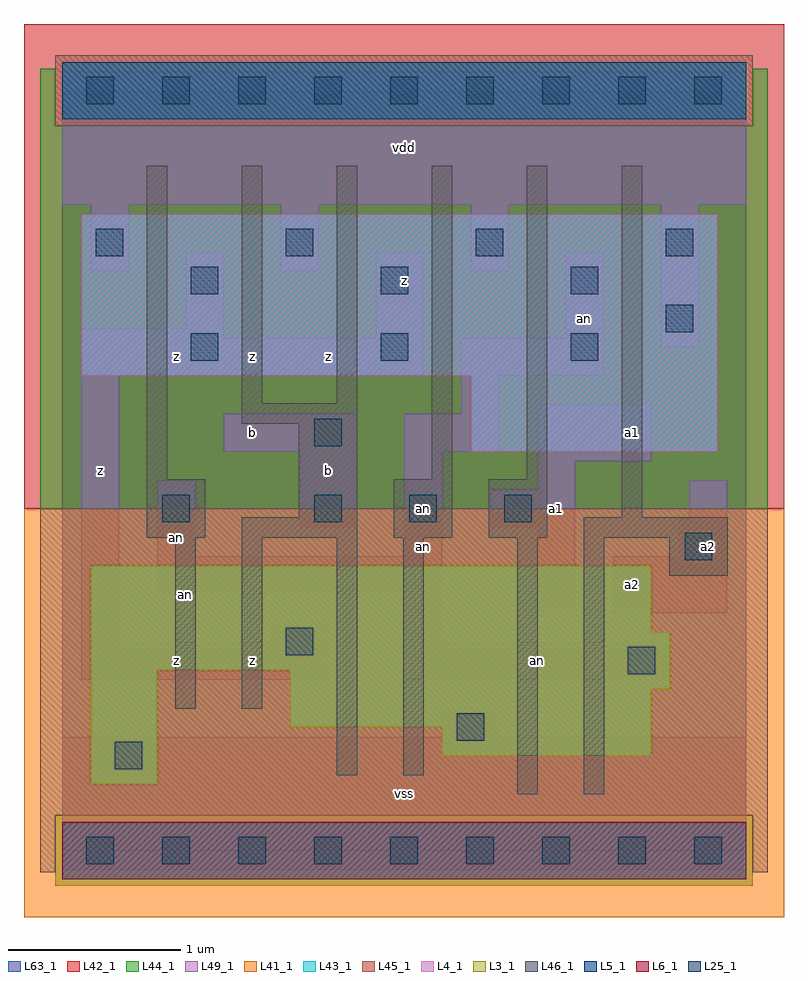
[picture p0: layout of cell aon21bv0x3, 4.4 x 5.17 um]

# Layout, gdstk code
import gdstk
lib = gdstk.Library(unit=1e-6, precision=1e-09)
def R(c, l, rs):  # rectangles x0, y0, x1, y1
    for r in rs: c.add(gdstk.rectangle(r[:2], r[2:], *l))
def A(c, l, x, y, w, h, nx, ny, dx, dy):  # array of equal rectangles
    R(c, l, [(x+i*dx, y+j*dy, x+i*dx+w, y+j*dy+h) for i in range(nx) for j in range(ny)])
L3_1 = (3, 1)
L4_1 = (4, 1)
L5_1 = (5, 1)
L6_1 = (6, 1)
L25_1 = (25, 1)
L41_1 = (41, 1)
L42_1 = (42, 1)
L43_1 = (43, 1)
L44_1 = (44, 1)
L45_1 = (45, 1)
L46_1 = (46, 1)
L49_1 = (49, 1)
L63_1 = (63, 1)

aon21bv0x3 = lib.new_cell('aon21bv0x3')
R(aon21bv0x3, L3_1, [(0.165,0.385,0.55,1.045), (2.2,0.55,3.41,0.715), (1.32,0.715,3.41,0.935), (1.32,0.935,3.52,1.045), (0.165,1.045,3.52,1.265), (0.165,1.265,3.41,1.65)])
R(aon21bv0x3, L4_1, [(2.365,2.31,3.795,2.75), (0.11,2.75,3.795,3.685)])
R(aon21bv0x3, L5_1, [(0,4.235,3.96,4.565)])
R(aon21bv0x3, L6_1, [(0,-0.165,3.96,0.165)])
A(aon21bv0x3, L25_1, 0.14, -0.08, 0.16, 0.16, 9, 2, 0.44, 4.4)
A(aon21bv0x3, L25_1, 1.46, 1.9, 0.16, 0.16, 3, 1, 0.55, 0)
A(aon21bv0x3, L25_1, 0.745, 2.835, 0.16, 0.16, 3, 2, 1.1, 0.385)
A(aon21bv0x3, L25_1, 0.195, 3.44, 0.16, 0.16, 4, 1, 1.1, 0)
R(aon21bv0x3, L25_1, [(0.305,0.47,0.465,0.63), (2.285,0.635,2.445,0.795), (3.275,1.02,3.435,1.18), (1.295,1.13,1.455,1.29), (3.605,1.68,3.765,1.84), (0.58,1.9,0.74,2.06), (1.46,2.34,1.62,2.5), (3.495,3,3.655,3.16)])
R(aon21bv0x3, L41_1, [(-0.22,-0.385,4.18,1.98)])
R(aon21bv0x3, L42_1, [(-0.22,1.98,4.18,4.785)])
R(aon21bv0x3, L43_1, [(0,-0.165,3.96,0.165), (0.165,0.385,0.55,1.045), (2.2,0.55,3.41,0.715), (1.32,0.715,3.41,0.935), (1.32,0.935,3.52,1.045), (0.165,1.045,3.52,1.265), (0.165,1.265,3.41,1.65), (2.365,2.31,3.795,2.75), (0.11,2.75,3.795,3.685), (0,4.235,3.96,4.565)])
R(aon21bv0x3, L44_1, [(-0.04,-0.205,4,0.205), (-0.125,1.98,4.085,4.195), (-0.125,4.195,-0.04,4.525), (4,4.195,4.085,4.525)])
R(aon21bv0x3, L45_1, [(-0.125,-0.125,-0.04,0.205), (4,-0.125,4.085,0.205), (-0.125,0.205,4.085,1.98), (-0.04,4.195,4,4.605)])
R(aon21bv0x3, L46_1, [(2.635,0.325,2.755,1.81), (3.02,0.325,3.14,1.81), (1.59,0.435,1.71,1.81), (1.975,0.435,2.095,1.81), (0.655,0.82,0.775,1.81), (1.04,0.82,1.16,1.81), (3.515,1.59,3.855,1.81), (0.49,1.81,0.83,2.15), (1.04,1.81,1.71,1.93), (1.92,1.81,2.26,2.15), (2.47,1.81,2.81,2.15), (3.02,1.81,3.855,1.93), (1.37,1.93,1.71,2.47), (3.24,1.93,3.36,3.965), (0.49,2.15,0.61,3.965), (2.14,2.15,2.26,3.965), (2.69,2.15,2.81,3.965), (1.04,2.47,1.71,2.59), (1.04,2.59,1.16,3.965), (1.59,2.59,1.71,3.965)])
A(aon21bv0x3, L49_1, 0.165, 3.355, 0.22, 0.385, 3, 1, 1.1, 0)
R(aon21bv0x3, L49_1, [(0,-0.11,3.96,0.66), (2.2,0.66,2.53,0.825), (0.11,0.99,1.54,1.21), (1.98,0.99,3.52,1.21), (0.11,1.21,0.33,2.75), (1.21,1.21,1.54,1.32), (1.98,1.21,2.2,1.485), (2.75,1.375,2.97,1.87), (3.19,1.375,3.85,1.705), (0.55,1.485,2.2,1.705), (0.55,1.705,0.77,2.145), (1.98,1.705,2.2,2.31), (3.575,1.705,3.85,1.925), (1.375,1.87,1.705,2.31), (2.475,1.87,2.97,2.09), (3.63,1.925,3.85,2.145), (2.75,2.09,2.97,2.255), (2.75,2.255,3.41,2.585), (0.935,2.31,1.705,2.53), (1.98,2.31,2.53,2.53), (2.31,2.53,2.53,2.75), (0.11,2.75,2.09,2.97), (2.31,2.75,3.135,2.97), (3.465,2.915,3.685,3.74), (0.11,2.97,0.935,3.025), (1.815,2.97,2.09,3.465), (2.915,2.97,3.135,3.465), (0.715,3.025,0.935,3.465), (0,3.74,3.96,4.51)])
R(aon21bv0x3, L63_1, [(0,0,3.96,4.4)])
aon21bv0x3.add(gdstk.Label('an', (0.715,1.485), layer=46, texttype=1))
aon21bv0x3.add(gdstk.Label('an', (2.09,1.98), layer=49, texttype=1))
aon21bv0x3.add(gdstk.Label('z', (0.22,2.2), layer=49, texttype=1))
aon21bv0x3.add(gdstk.Label('z', (0.66,1.1), layer=49, texttype=1))
aon21bv0x3.add(gdstk.Label('z', (1.1,1.1), layer=49, texttype=1))
aon21bv0x3.add(gdstk.Label('an', (0.66,1.815), layer=49, texttype=1))
aon21bv0x3.add(gdstk.Label('b', (1.1,2.42), layer=49, texttype=1))
aon21bv0x3.add(gdstk.Label('z', (1.1,2.86), layer=49, texttype=1))
aon21bv0x3.add(gdstk.Label('z', (0.66,2.86), layer=49, texttype=1))
aon21bv0x3.add(gdstk.Label('vss', (1.98,0.33), layer=49, texttype=1))
aon21bv0x3.add(gdstk.Label('an', (2.09,1.76), layer=49, texttype=1))
aon21bv0x3.add(gdstk.Label('b', (1.54,2.2), layer=49, texttype=1))
aon21bv0x3.add(gdstk.Label('z', (1.54,2.86), layer=49, texttype=1))
aon21bv0x3.add(gdstk.Label('z', (1.98,3.3), layer=49, texttype=1))
aon21bv0x3.add(gdstk.Label('vdd', (1.98,4.07), layer=49, texttype=1))
aon21bv0x3.add(gdstk.Label('a1', (2.86,1.98), layer=49, texttype=1))
aon21bv0x3.add(gdstk.Label('an', (3.025,3.08), layer=49, texttype=1))
aon21bv0x3.add(gdstk.Label('a2', (3.3,1.54), layer=49, texttype=1))
aon21bv0x3.add(gdstk.Label('an', (2.75,1.1), layer=49, texttype=1))
aon21bv0x3.add(gdstk.Label('a2', (3.74,1.76), layer=49, texttype=1))
aon21bv0x3.add(gdstk.Label('a1', (3.3,2.42), layer=49, texttype=1))

lib.write_gds('aon21bv0x3.gds')
